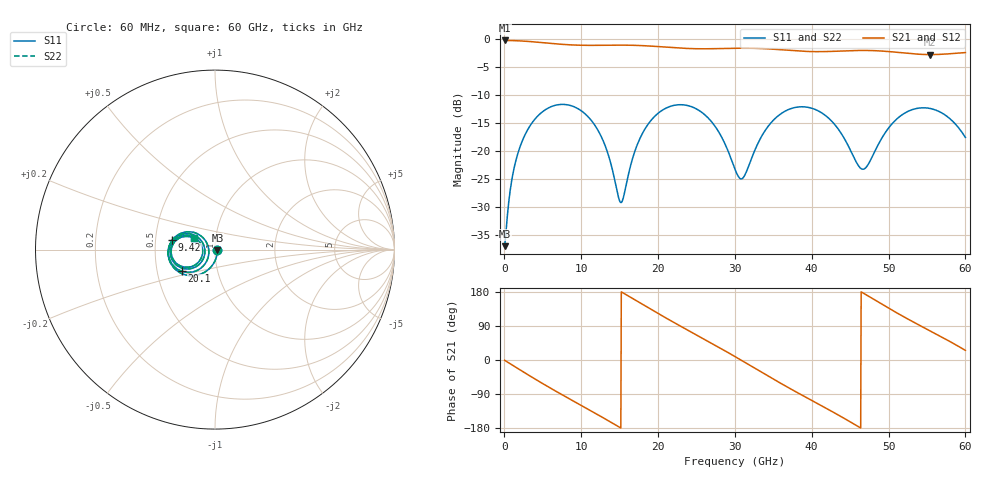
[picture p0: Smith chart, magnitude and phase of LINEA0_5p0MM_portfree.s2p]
! CST run with both port regions removed (series 2.809 pH, shunt 1.280 fF each)
# GHz S MA R 50
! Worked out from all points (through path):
!   1000 points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, 60 MHz to 60 GHz, reference 50 ohm
!   highest |S21| = -0.19 dB at 60 MHz (marker M1); lowest = -2.7 dB at 55.44 GHz (marker M2)
!   group delay of S21, straight-line fit = 32.1 ps
!   lowest |S11| = -36.9 dB at 60 MHz (marker M3), VSWR 1.03, Z = 51.4 - j0.352 ohm
!   |S11| at or under -10 dB: start of sweep to end of sweep
!   |S22| runs from -36.9 to -11.6 dB; largest |S21 - S12| = 2e-06
!   S11 on the Smith chart (normalised r, x): 60 MHz: 1.03, -0.01; 9.42 GHz: 0.61, +0.07; 20.1 GHz: 0.67, -0.17; 60 GHz: 0.78, +0.10
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0.06  0.01421 -13.9  0.978 -0.8  0.978 -0.8  0.01421 -13.9
1.26  0.06908 -92.8  0.9747 -16.0  0.9747 -16.0  0.06908 -92.8
3  0.1533 -118.9  0.9603 -37.7  0.9603 -37.7  0.1533 -118.9
6.12  0.2506 -156.1  0.9197 -75.3  0.9197 -75.3  0.2506 -156.1
9.42  0.2442 167.6  0.8885 -113.0  0.8885 -113.0  0.2442 167.6
10.08  0.2289 160.8  0.8859 -120.4  0.8859 -120.4  0.2289 160.8
12.84  0.126 137.3  0.8858 -151.9  0.8858 -151.9  0.126 137.3
15.18  0.03483 -176.1  0.8885 -179.5  0.8885 -179.5  0.03483 -176.1
17.52  0.1238 -126.6  0.8821 152.5  0.8821 152.5  0.1238 -126.6
20.04  0.2191 -146.3  0.8622 122.6  0.8622 122.6  0.2191 -146.3
20.1  0.2208 -146.8  0.8617 121.9  0.8617 121.9  0.2208 -146.8
24.78  0.2436 168.8  0.8256 68.8  0.8256 68.8  0.2436 168.8
27.66  0.1587 147.0  0.8266 36.5  0.8266 36.5  0.1587 147.0
30.06  0.06836 157.7  0.8338 8.7  0.8338 8.7  0.06836 157.7
31.14  0.05867 -164.5  0.835 -4.1  0.835 -4.1  0.05867 -164.5
35.4  0.2009 -148.0  0.8131 -54.8  0.8131 -54.8  0.2009 -148.0
40.02  0.2425 174.0  0.7778 -106.8  0.7778 -106.8  0.2425 174.0
43.74  0.1483 150.1  0.7864 -148.3  0.7864 -148.3  0.1483 150.1
46.56  0.06934 -179.5  0.7964 178.4  0.7964 178.4  0.06934 -179.5
50.04  0.1626 -144.3  0.778 136.5  0.778 136.5  0.1626 -144.3
55.44  0.2412 177.0  0.7315 76.5  0.7315 76.5  0.2412 177.0
60  0.1331 152.0  0.7622 25.4  0.7622 25.4  0.1331 152.0
